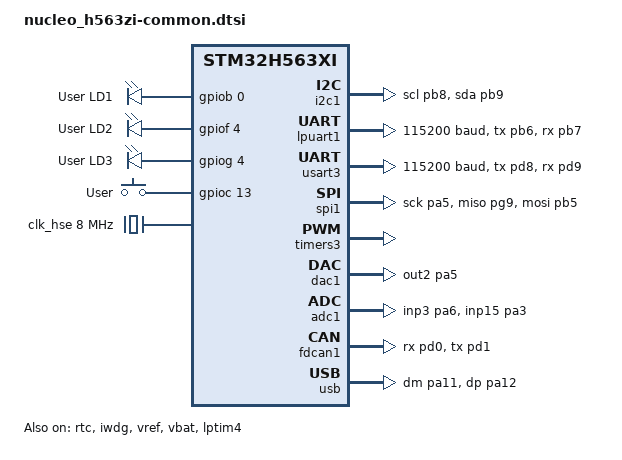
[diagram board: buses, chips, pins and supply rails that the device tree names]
/*
 * Copyright (c) 2021 Linaro Limited
 * Copyright (c) 2023 Thomas Stranger
 *
 * SPDX-License-Identifier: Apache-2.0
 */

#include <st/h5/stm32h563Xi.dtsi>
#include <st/h5/stm32h563zitx-pinctrl.dtsi>
#include "arduino_r3_connector.dtsi"
#include "st_morpho_connector.dtsi"
#include <zephyr/dt-bindings/input/input-event-codes.h>

/ {
	leds: leds {
		compatible = "gpio-leds";
		green_led_1: led_1 {
			gpios = <&gpiob 0 GPIO_ACTIVE_HIGH>;
			label = "User LD1";
		};
		yellow_led_1: led_2 {
			gpios = <&gpiof 4 GPIO_ACTIVE_HIGH>;
			label = "User LD2";
		};
		red_led_1: led_3 {
			gpios = <&gpiog 4 GPIO_ACTIVE_HIGH>;
			label = "User LD3";
		};
	};

	gpio_keys {
		compatible = "gpio-keys";
		user_button: button {
			label = "User";
			gpios = <&gpioc 13 GPIO_ACTIVE_HIGH>;
			zephyr,code = <INPUT_KEY_0>;
		};
	};

	pwmleds: pwmleds {
		compatible = "pwm-leds";
		status = "disabled";

		pwm_led_1: green_led_1 {
			pwms = <&pwm3 3 PWM_MSEC(20) PWM_POLARITY_NORMAL>;
			label = "green led";
		};
	};
};

&clk_hse {
	clock-frequency = <DT_FREQ_M(8)>; /* STLink 8MHz clock */
	hse-bypass;
	status = "okay";
};

&clk_hsi48 {
	status = "okay";
};

&clk_lse {
	status = "okay";
};

&pll {
	div-m = <2>;
	mul-n = <120>;
	div-p = <2>;
	div-q = <3>;
	div-r = <2>;
	clocks = <&clk_hse>;
	status = "okay";
};

&i2c1 {
	pinctrl-0 = <&i2c1_scl_pb8 &i2c1_sda_pb9>;
	pinctrl-names = "default";
	status = "okay";
};

&rcc {
	clocks = <&pll>;
	clock-frequency = <DT_FREQ_M(240)>;
	ahb-prescaler = <1>;
	apb1-prescaler = <2>;
	apb2-prescaler = <1>;
	apb3-prescaler = <2>;
};

&lpuart1 {
	pinctrl-0 = <&lpuart1_tx_pb6 &lpuart1_rx_pb7>;
	pinctrl-names = "default";
	current-speed = <115200>;
	status = "okay";
};

&usart3 {
	pinctrl-0 = <&usart3_tx_pd8 &usart3_rx_pd9>;
	pinctrl-names = "default";
	current-speed = <115200>;
	status = "okay";
};

&spi1 {
	pinctrl-0 = <&spi1_sck_pa5 &spi1_miso_pg9 &spi1_mosi_pb5>;
	pinctrl-names = "default";
	cs-gpios = <&gpiod 14 (GPIO_ACTIVE_LOW | GPIO_PULL_UP)>;
	status = "okay";
};

&timers3 {
	st,prescaler = <10000>;
	status = "okay";

	pwm3: pwm {
		status = "okay";
		pinctrl-0 = <&tim3_ch3_pb0>;
		pinctrl-names = "default";
	};
};

&rtc {
	clocks = <&rcc STM32_CLOCK_BUS_APB3 0x00200000>,
		 <&rcc STM32_SRC_LSE RTC_SEL(1)>;
	status = "okay";
};

&iwdg {
	status = "okay";
};

&gpdma1 {
	status = "okay";
};

&gpdma2 {
	status = "okay";
};

&dac1 {
	/* outputs only on 2 pins and pa4 is reserved for VBUS_SENSE */
	pinctrl-0 = <&dac1_out2_pa5>;  /* Zio D13 (on CN7) */
	pinctrl-names = "default";
	status = "okay";
};

&adc1 {
	pinctrl-0 = <&adc1_inp3_pa6 &adc1_inp15_pa3>; /* Zio A0, Zio D35 */
	pinctrl-names = "default";
	st,adc-clock-source = <ASYNC>;
	st,adc-prescaler = <6>;
	status = "okay";
};

&fdcan1 {
	pinctrl-0 = <&fdcan1_rx_pd0 &fdcan1_tx_pd1>;
	pinctrl-names = "default";
	clocks = <&rcc STM32_CLOCK_BUS_APB1_2 0x00000200>,
		 <&rcc STM32_SRC_PLL1_Q FDCAN_SEL(1)>;
	clk-divider = <2>;
	status = "okay";
};

&flash0 {
	partitions {
		compatible = "fixed-partitions";
		#address-cells = <1>;
		#size-cells = <1>;

		boot_partition: partition@0 {
			label = "mcuboot";
			reg = <0x00000000 DT_SIZE_K(64)>;
		};
		slot0_partition: partition@10000 {
			label = "image-0";
			reg = <0x00010000 DT_SIZE_K(960)>;
		};
		slot1_partition: partition@100000 {
			label = "image-1";
			reg = <0x00100000 DT_SIZE_K(960)>;
		};
		storage_partition: partition@1f0000 {
			label = "storage";
			reg = <0x001f0000 DT_SIZE_K(64)>;
		};
	};
};

zephyr_udc0: &usb {
	pinctrl-0 = <&usb_dm_pa11 &usb_dp_pa12>;
	pinctrl-names = "default";
	status = "okay";
};

&vref {
	status = "okay";
};

&vbat {
	status = "okay";
};

&clk_lsi {
	status = "okay";
};

stm32_lp_tick_source: &lptim4 {
	clocks = <&rcc STM32_CLOCK_BUS_APB3 0x2000>,
		 <&rcc STM32_SRC_LSI LPTIM4_SEL(4)>;
	status = "okay";
};
